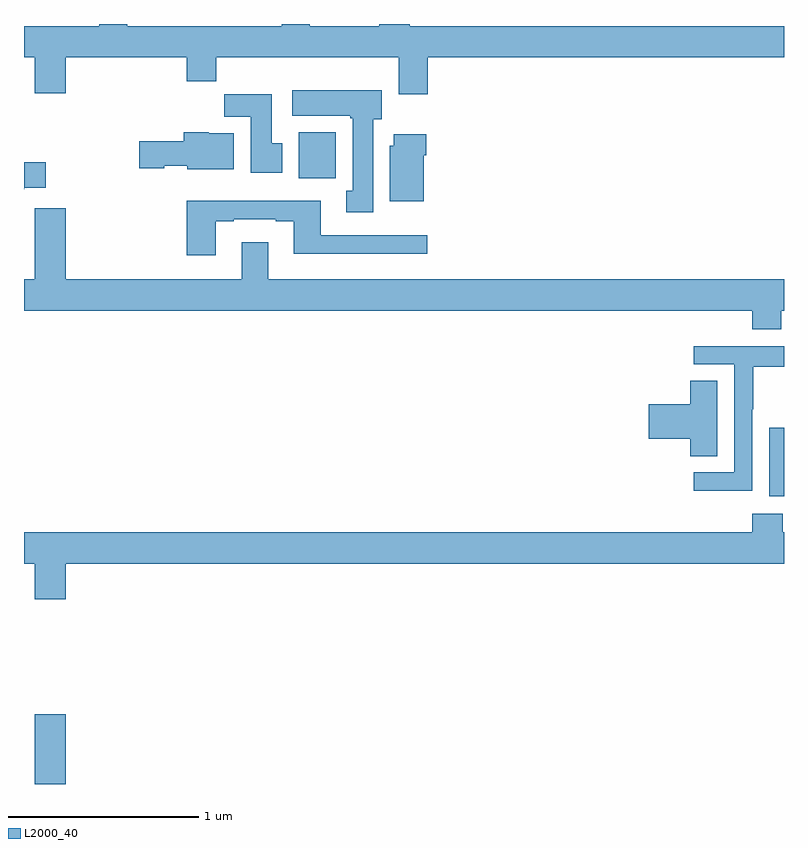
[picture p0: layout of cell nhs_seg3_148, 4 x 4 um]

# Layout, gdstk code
import gdstk
lib = gdstk.Library(unit=1e-6, precision=1e-09)
def R(c, l, rs):  # rectangles x0, y0, x1, y1
    for r in rs: c.add(gdstk.rectangle(r[:2], r[2:], *l))
def P(c, l, *ps):  # polygons
    for p in ps: c.add(gdstk.Polygon(p, *l))
L2000_40 = (2000, 40)

nhs_seg3_148 = lib.new_cell('nhs_seg3_148')
R(nhs_seg3_148, L2000_40, [(117.056,722.4,117.22,722.767), (120.923,723.914,121,724.275), (118.445,725.588,118.642,725.83)])
P(nhs_seg3_148, L2000_40, [(119.126,726.224),(121,726.224),(121,726.388),(119.03,726.388),(119.03,726.4),(118.87,726.4),(118.87,726.388),(118.503,726.388),(118.503,726.4),(118.356,726.4),(118.356,726.388),(117.543,726.388),(117.543,726.4),(117.395,726.4),(117.395,726.388),(117,726.388),(117,726.224),(117.056,726.224),(117.056,726.036),(117.22,726.036),(117.22,726.224),(117.857,726.224),(117.857,726.1),(118.013,726.1),(118.013,726.224),(118.973,726.224),(118.973,726.03),(119.126,726.03)],
  [(118.837,725.898),(118.882,725.898),(118.882,726.052),(118.413,726.052),(118.413,725.918),(118.717,725.918),(118.717,725.905),(118.73,725.905),(118.73,725.522),(118.697,725.522),(118.697,725.409),(118.837,725.409)],
  [(118.36,725.772),(118.303,725.772),(118.303,726.031),(118.054,726.031),(118.054,725.912),(118.193,725.912),(118.193,725.616),(118.36,725.616)],
  [(118.105,725.824),(117.972,725.824),(117.972,725.83),(117.842,725.83),(117.842,725.784),(117.606,725.784),(117.606,725.642),(117.738,725.642),(117.738,725.654),(117.858,725.654),(117.858,725.636),(118.105,725.636)],
  [(119.104,725.708),(119.117,725.708),(119.117,725.821),(118.946,725.821),(118.946,725.76),(118.925,725.76),(118.925,725.468),(119.104,725.468)],
  [(117.002,725.537),(117.115,725.537),(117.115,725.672),(117,725.672),(117,725.53),(117.002,725.53)],
  [(118.009,725.361),(118.105,725.361),(118.105,725.373),(118.325,725.373),(118.325,725.361),(118.421,725.361),(118.421,725.192),(119.122,725.192),(119.122,725.289),(118.561,725.289),(118.561,725.47),(117.857,725.47),(117.857,725.184),(118.009,725.184)],
  [(120.985,724.892),(121,724.892),(121,725.056),(118.285,725.056),(118.285,725.251),(118.145,725.251),(118.145,725.056),(117.22,725.056),(117.22,725.431),(117.056,725.431),(117.056,725.056),(117,725.056),(117,724.892),(120.833,724.892),(120.833,724.793),(120.985,724.793)],
  [(120.834,724.372),(120.837,724.372),(120.837,724.596),(121,724.596),(121,724.704),(120.525,724.704),(120.525,724.608),(120.738,724.608),(120.738,724.041),(120.525,724.041),(120.525,723.943),(120.834,723.943)],
  [(120.649,724.523),(120.506,724.523),(120.506,724.4),(120.288,724.4),(120.288,724.217),(120.506,724.217),(120.506,724.126),(120.649,724.126)],
  [(117.22,723.56),(121,723.56),(121,723.724),(120.993,723.724),(120.993,723.823),(120.833,723.823),(120.833,723.724),(117,723.724),(117,723.56),(117.056,723.56),(117.056,723.372),(117.22,723.372)])

lib.write_gds('nhs_seg3_148.gds')
